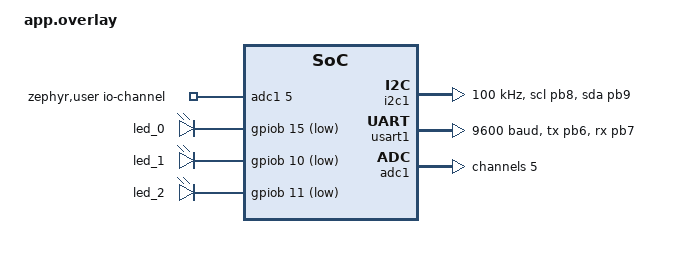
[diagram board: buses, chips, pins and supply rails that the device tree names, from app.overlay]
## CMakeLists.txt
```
cmake_minimum_required(VERSION 3.20.0)

find_package(Zephyr REQUIRED HINTS $ENV{ZEPHYR_BASE})
project(drone_telemetry)

target_sources(app PRIVATE
    src/main.c
    src/sensor_contract.c
    src/processing.c
    src/mode_manager.c
    src/simu_protocol.c
    src/output_formatter.c
)

target_include_directories(app PRIVATE include)
```

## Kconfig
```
source "Kconfig.zephyr"

menu "Drone telemetry application"

config APP_IMU_SAMPLE_HZ
    int "IMU sample rate"
    default 25
    range 1 200
    help
      Application-facing MPU6050 acquisition rate. The mandatory baseline
      freezes this value at 25 Hz.

config APP_GPS_UPDATE_PERIOD_MS
    int "GPS update period in milliseconds"
    default 1000
    range 100 60000

config APP_ENVIRONMENT_PERIOD_MS
    int "Environment update period in milliseconds"
    default 2000
    range 100 60000

config APP_SIMU_PERIOD_MS
    int "SIMU output period in milliseconds"
    default 100
    range 10 1000

config APP_TEST_PERIOD_MS
    int "TEST output period in milliseconds"
    default 2000
    range 100 60000

config APP_NORMAL_PERIOD_MS
    int "NORMAL output period in milliseconds"
    default 5000
    range 100 60000

config APP_MODE_BUTTON_DEBOUNCE_MS
    int "B1 button debounce interval in milliseconds"
    default 200
    range 0 5000

config APP_REPORT_BUFFER_SIZE
    int "TEST/NORMAL report buffer size"
    default 1536
    range 512 4096

config APP_ENABLE_ADVANCED_MODE
    bool "Enable the reserved ADVANCED MODE transition"
    default n
    help
      Keep disabled until the intermediate assessment grants access and the
      instructors assign an advanced requirement.

config APP_USE_MOCK_SENSORS
    bool "Use deterministic mock sensor data"
    default n
    help
      Keep the application testable before the hardware is connected. Set to
      n when the real sensor backends are ready.

config APP_LDR_DARK_RAW
    int "LDR dark calibration ADC value"
    default 4000
    range 0 65535

config APP_LDR_MAX_RAW
    int "LDR maximum-light calibration ADC value"
    default 80
    range 1 65535

config APP_IMU_CALIBRATION_MS
    int "Start-up IMU still-calibration window in milliseconds"
    default 2000
    range 0 10000
    help
      The board must be still and level for this long after boot. The mean
      gyroscope output is used as the gyro bias and the mean |a| as the
      gravity reference of the state detector and gravity compensation.
      Movement or tilt restarts the window; after five windows the calibration
      gives up and uses zero bias and 9.80665 m/s2. FLAGS bit 5 is set while
      pending. 0 disables the calibration.

# Tracker state thresholds. These defaults are the single source of truth
# (do not override them in prj.conf). They assume the start-up calibration
# above (bias-free gyro, measured gravity) and the MPU6050 10 Hz DLPF, and
# must be confirmed with a still/moving capture on the real hardware.

config APP_IDLE_ACCEL_TOLERANCE_MILLI_MPS2
    int "IDLE acceleration tolerance in milli-m/s2"
    default 400
    range 1 10000
    help
      Maximum | |a| - g_cal | for the tracker to be considered stationary.

config APP_IDLE_GYRO_THRESHOLD_DPS
    int "IDLE gyro magnitude threshold in deg/s"
    default 4
    range 1 360
    help
      Maximum bias-corrected angular velocity magnitude for IDLE.

config APP_FLYING_ACCEL_THRESHOLD_MILLI_MPS2
    int "FLYING dynamic acceleration threshold in milli-m/s2"
    default 1000
    range 1 10000
    help
      Minimum | |a| - g_cal | indicating motion. Must exceed the IDLE
      tolerance; the band in between holds the current state (hysteresis).

config APP_FLYING_GYRO_THRESHOLD_DPS
    int "FLYING gyro magnitude threshold in deg/s"
    default 10
    range 1 360
    help
      Minimum bias-corrected angular velocity magnitude indicating motion.
      Must exceed the IDLE gyro threshold.

config APP_FLYING_TILT_DEG
    int "FLYING tilt threshold in degrees"
    default 15
    range 1 89
    help
      Tilt of the sensor Z axis from vertical (sensor mounted Z-up). A
      multirotor tilts to produce horizontal thrust, so a sustained tilt
      above this value is treated as flight even if |a| stays close to g.

config APP_PROBLEM_TILT_DEG
    int "PROBLEM tilt threshold in degrees"
    default 60
    range 2 180
    help
      Tilt above this value (including an inverted tracker) is treated as a
      tip-over / crash-like event: PROBLEM state and FLAGS bit 4 once it has
      persisted for APP_PROBLEM_PERSISTENCE_MS.

config APP_IDLE_PERSISTENCE_MS
    int "IDLE persistence time in milliseconds"
    default 500
    range 0 60000

config APP_FLYING_PERSISTENCE_MS
    int "FLYING persistence time in milliseconds"
    default 300
    range 0 60000
    help
      Long enough (about 8 IMU samples) to reject a single tap or bump.

config APP_PROBLEM_PERSISTENCE_MS
    int "PROBLEM persistence time in milliseconds"
    default 1000
    range 0 60000

endmenu
```

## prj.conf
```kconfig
CONFIG_GPIO=y
CONFIG_I2C=y
CONFIG_SERIAL=y
# GPS RX (USART1) and the VCOM TX (LPUART1) are interrupt driven, so no
# thread busy-waits on a UART and the idle thread can enter WFI.
CONFIG_UART_INTERRUPT_DRIVEN=y
CONFIG_ADC=y
CONFIG_PRINTK=y
CONFIG_BOOT_BANNER=n
# Disabled so an assertion message can never print on the VCOM stream and
# corrupt SIMU output (GR5 / SM6). Set to y only during local debugging.
CONFIG_ASSERT=n
# Keep comfortable headroom with hardware MPU stack guards enabled.
CONFIG_MAIN_STACK_SIZE=2048
CONFIG_ISR_STACK_SIZE=2048
CONFIG_SYSTEM_WORKQUEUE_STACK_SIZE=1024
# Tracker thresholds are defined only in Kconfig (single source of truth).
```

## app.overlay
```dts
/*
 * NUCLEO-WL55JC1 hardware overlay for the Drone Tracking and Telemetry system.
 *
 * Pin mapping:
 * - I2C1 (MPU6050 @ 0x68, Si7021 @ 0x40): SCL = PB8 (CN10-27), SDA = PB9 (CN10-26)
 * - USART1 (GPS PA6H @ 9600 8N1): TX = PB6 (CN10-35), RX = PB7 (CN10-37)
 * - ADC1 IN5 (LDR divider): PB1 / A0 (CN7-28)
 * - RGB LED (Common Anode, ACTIVE_LOW): R = PB11 (CN10-30), G = PB10 (CN10-25), B = PB15 (CN10-28)
 * - B1 mode button (sw0): PA0
 */

#include <zephyr/dt-bindings/adc/adc.h>
#include <zephyr/dt-bindings/gpio/gpio.h>
#include <zephyr/dt-bindings/i2c/i2c.h>

/ {
    telemetry_app: telemetry_app {
        status = "okay";
        imu-sample-hz = <25>;
        gps-update-period-ms = <1000>;
        environment-period-ms = <2000>;
        simu-period-ms = <100>;
    };

    zephyr,user {
        io-channels = <&adc1 5>;
    };
};

&leds {
    led_0 {
        gpios = <&gpiob 15 GPIO_ACTIVE_LOW>;
    };
    led_1 {
        gpios = <&gpiob 10 GPIO_ACTIVE_LOW>;
    };
    led_2 {
        gpios = <&gpiob 11 GPIO_ACTIVE_LOW>;
    };
};

&pwm2 {
    status = "disabled";
};

&i2c1 {
    pinctrl-0 = <&i2c1_scl_pb8 &i2c1_sda_pb9>;
    pinctrl-names = "default";
    clock-frequency = <I2C_BITRATE_STANDARD>;
    status = "okay";
};

&usart1 {
    pinctrl-0 = <&usart1_tx_pb6 &usart1_rx_pb7>;
    pinctrl-names = "default";
    current-speed = <9600>;
    status = "okay";
};

&adc1 {
    #address-cells = <1>;
    #size-cells = <0>;
    status = "okay";

    channel@5 {
        reg = <5>;
        zephyr,gain = "ADC_GAIN_1";
        zephyr,reference = "ADC_REF_INTERNAL";
        /*
         * Longest sampling time (160.5 ADC cycles). ADC_ACQ_TIME_DEFAULT maps to
         * the shortest one (1.5 cycles), too short to charge the sampling
         * capacitor through the kilo-ohm output impedance of the LDR divider.
         */
        zephyr,acquisition-time = <ADC_ACQ_TIME_MAX>;
        zephyr,resolution = <12>;
    };
};
```

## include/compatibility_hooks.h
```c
#ifndef COMPATIBILITY_HOOKS_H
#define COMPATIBILITY_HOOKS_H

int config_mandatory_printf(void);
int print_alarm_messages(void);
void print_academic_integrity_marker(void);

#endif /* COMPATIBILITY_HOOKS_H */
```

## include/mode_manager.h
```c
#ifndef MODE_MANAGER_H
#define MODE_MANAGER_H

/*
 * Operating mode state machine (TEST -> NORMAL -> SIMU -> TEST), B1 button
 * software debouncing, mode output cadence, and RGB status LED color policy.
 */

#include <stdbool.h>
#include <stdint.h>

#include "telemetry_snapshot.h"

/* The mode order is part of the mandatory B1 behaviour. */
enum app_mode {
    APP_MODE_TEST = 0,
    APP_MODE_NORMAL,
    APP_MODE_SIMU,
#if CONFIG_APP_ENABLE_ADVANCED_MODE
    APP_MODE_ADVANCED,
#endif
};

/* Logical RGB LED colors mapped to digital R/G/B GPIO channels. */
enum app_led_color {
    APP_LED_OFF = 0,
    APP_LED_BLUE,
    APP_LED_GREEN,
    APP_LED_YELLOW,
    APP_LED_RED,
    APP_LED_MAGENTA,
    APP_LED_WHITE,
};

/* Mode manager context tracking active mode and last accepted B1 press time. */
struct mode_manager {
    enum app_mode mode;
    uint32_t button_debounce_ms;
    uint32_t last_button_ms;
    bool button_timestamp_valid;
};

/* Initialize mode manager in TEST mode with the configured debounce window. */
void mode_manager_init(struct mode_manager *manager,
                       uint32_t button_debounce_ms);

/* Called by the B1 GPIO interrupt callback; queues the press timestamp. */
void app_b1_button_pressed(uint32_t timestamp_ms);

/* Returns true only when the press is outside the debounce interval. */
bool mode_manager_accept_button(struct mode_manager *manager,
                                uint32_t timestamp_ms);

/* Advance to the next circular operating mode, return VCOM period, and map LED color. */
enum app_mode mode_manager_next_mode(enum app_mode mode);
uint32_t mode_manager_period_ms(enum app_mode mode);
enum app_led_color mode_manager_led_for(enum app_mode mode,
                                        enum tracker_state state);
const char *mode_manager_name(enum app_mode mode);
const char *mode_manager_led_name(enum app_led_color color);

#endif /* MODE_MANAGER_H */
```

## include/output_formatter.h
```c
#ifndef OUTPUT_FORMATTER_H
#define OUTPUT_FORMATTER_H

/*
 * Human-readable ASCII telemetry report formatters for TEST mode (2 s) and
 * NORMAL mode (5 s, including optional 30-second rolling statistics summary).
 */

#include <stdbool.h>
#include <stddef.h>

#include "telemetry_snapshot.h"

/* Format diagnostic telemetry report for TEST mode; returns byte length or <0. */
int output_format_test_report(const struct telemetry_snapshot *snapshot,
                              char *output, size_t capacity);

/* Format operational report for NORMAL mode, appending 30 s stats when requested. */
int output_format_normal_report(const struct telemetry_snapshot *snapshot,
                                bool include_statistics,
                                char *output, size_t capacity);

#endif /* OUTPUT_FORMATTER_H */
```

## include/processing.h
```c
#ifndef PROCESSING_H
#define PROCESSING_H

/*
 * Telemetry processing pipeline: start-up IMU still calibration, gyroscope
 * Euler attitude integration, GPS/inertial local ENU motion estimation,
 * 30-second rolling window statistics, and tracker state classification.
 */

#include <stdbool.h>
#include <stdint.h>

#include "telemetry_snapshot.h"

/* Gyroscope-integrated Euler angles starting at 0 deg after calibration. */
struct attitude_state {
    uint32_t last_timestamp_ms;
    float roll_deg;
    float pitch_deg;
    float yaw_deg;
    bool initialized;
};

/* Local East-North-Up (ENU) position and velocity estimator state. */
struct position_state {
    bool origin_valid;
    bool integration_origin_valid;
    double origin_latitude_deg;
    double origin_longitude_deg;
    float origin_altitude_m;
    uint32_t last_gps_timestamp_ms;
    bool last_gps_valid;
    double last_gps_latitude_deg;
    double last_gps_longitude_deg;
    float last_gps_altitude_m;
    float x_m;
    float y_m;
    float z_m;
    float vx_mps;
    float vy_mps;
    float vz_mps;
    uint32_t last_imu_timestamp_ms;
    bool last_imu_valid;
};

/* Accumulators for the 5-channel 30-second NORMAL mode statistics window. */
struct statistics_state {
    uint32_t window_start_ms;
    uint32_t valid_counts[5];
    float sums[5];
    float minima[5];
    float maxima[5];
    /* Last sensor sample sequence numbers already accumulated. */
    uint32_t last_light_seq;
    uint32_t last_environment_seq;
    bool initialized;
};

/*
 * Start-up IMU calibration. While the board is still, the gyroscope bias and
 * the measured gravity magnitude are averaged. Attitude and inertial position
 * are not integrated until the calibration finishes (FLAGS bit 5 is set).
 */
struct imu_calibration {
    uint32_t duration_ms;
    uint32_t first_start_ms;
    uint32_t window_start_ms;
    uint32_t samples;
    float sum_ax;
    float sum_ay;
    float sum_az;
    float sum_gx;
    float sum_gy;
    float sum_gz;
    float sum_accel_magnitude;
    float min_accel_magnitude;
    float max_accel_magnitude;
    float accel_bias_x_mps2;
    float accel_bias_y_mps2;
    float accel_bias_z_mps2;
    float gyro_bias_x_dps;
    float gyro_bias_y_dps;
    float gyro_bias_z_dps;
    float gravity_mps2;
    bool active;
    bool done;
};

/* Thresholds, hysteresis bands, and persistence timers for state detection. */
struct state_detector_config {
    float idle_acceleration_tolerance_mps2;
    float idle_gyro_threshold_dps;
    float flying_acceleration_threshold_mps2;
    float flying_gyro_threshold_dps;
    /* Tilt from the Z-up mounting: FLYING above the first, PROBLEM above the second. */
    float flying_tilt_deg;
    float problem_tilt_deg;
    uint32_t idle_persistence_ms;
    uint32_t flying_persistence_ms;
    uint32_t problem_persistence_ms;
    /* Start-up still-calibration window; 0 disables the calibration. */
    uint32_t imu_calibration_ms;
};

/* Persistence-filtered state machine state (IDLE / FLYING / PROBLEM). */
struct state_detector {
    enum tracker_state state;
    enum tracker_state candidate_state;
    uint32_t candidate_since_ms;
    bool candidate_valid;
};

/* Top-level processing context owned exclusively by processing_thread. */
struct processing_engine {
    struct attitude_state attitude;
    struct position_state position;
    struct statistics_state statistics;
    struct state_detector detector;
    struct state_detector_config detector_config;
    struct imu_calibration calibration;
    float cos_flying_tilt;
    float cos_problem_tilt;
};

/* Reset processing state and precompute cosine tilt thresholds. */
void processing_engine_init(struct processing_engine *engine,
                            const struct state_detector_config *config);

/* Process one valid 25 Hz IMU sample and update the shared snapshot. */
void processing_engine_process_imu(struct processing_engine *engine,
                                   const struct imu_sample *sample,
                                   struct telemetry_snapshot *snapshot);

/* Advance statistics window and fault state when an IMU read fails. */
void processing_engine_process_imu_fault(struct processing_engine *engine,
                                         uint32_t timestamp_ms,
                                         struct telemetry_snapshot *snapshot);

#endif /* PROCESSING_H */
```

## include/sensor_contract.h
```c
#ifndef SENSOR_CONTRACT_H
#define SENSOR_CONTRACT_H

/*
 * Low-level sensor driver interface and unit-conversion contract for
 * MPU6050 (I2C1), Si7021 (I2C1), PA6H GPS (USART1), and LDR divider (ADC1).
 */

#include <stdbool.h>
#include <stddef.h>
#include <stdint.h>

#include "telemetry_snapshot.h"

/* MPU6050 sensitivity scale factors for AFS_SEL=0 (+/-2g) and FS_SEL=0 (+/-250 dps). */
#define MPU6050_ACCEL_LSB_PER_G 16384.0f
#define MPU6050_GYRO_LSB_PER_DPS 131.0f
#define MPU6050_STANDARD_GRAVITY 9.80665f

/* Raw 16-bit signed register values burst-read from MPU6050 (0x3B..0x48). */
struct mpu6050_raw_sample {
    int16_t accel_x;
    int16_t accel_y;
    int16_t accel_z;
    int16_t gyro_x;
    int16_t gyro_y;
    int16_t gyro_z;
};

/* Raw 16-bit measurement words read from Si7021 (status bits masked out). */
struct si7021_raw_sample {
    uint16_t temperature_raw;
    uint16_t humidity_raw;
};

/* Calibrated 12-bit ADC endpoints corresponding to 0 % (dark) and 100 % (bright). */
struct ldr_calibration {
    uint16_t dark_raw;
    uint16_t maximum_raw;
};

/* Convert raw MPU6050 counts into m/s^2 and deg/s. */
enum sensor_result mpu6050_convert_raw(const struct mpu6050_raw_sample *raw,
                                        uint32_t timestamp_ms,
                                        struct imu_sample *out);

/* Convert raw Si7021 words into degrees Celsius and clamped 0..100 %RH. */
enum sensor_result si7021_convert_raw(const struct si7021_raw_sample *raw,
                                      uint32_t timestamp_ms,
                                      struct environment_sample *out);

/*
 * Map a raw LDR ADC sample to 0.0-100.0 %.
 * SENSOR_OK:       inside the calibrated [dark_raw, maximum_raw] range.
 * SENSOR_OVERFLOW: outside the calibrated range (1..dark_raw-1 or
 *                  maximum_raw+1..4094); *light_percent holds the clamped
 *                  0 % or 100 % value and the caller sets FLAGS bit 2.
 * SENSOR_INVALID:  invalid arguments/calibration or ADC rail (0 / >=4095,
 *                  indicating an open or shorted divider; no value produced).
 */
enum sensor_result ldr_map_percent(uint16_t adc_raw,
                                   uint32_t timestamp_ms,
                                   const struct ldr_calibration *calibration,
                                   struct ldr_sample *out,
                                   float *light_percent);

/* Validate NMEA XOR checksum and parse a $GPGGA or $GNGGA sentence. */
enum sensor_result gps_parse_gga(const char *line, struct gps_sample *out);

/* Deterministic mock backends used only when CONFIG_APP_USE_MOCK_SENSORS=y. */
enum sensor_result sensor_mock_read_imu(uint32_t timestamp_ms,
                                        struct imu_sample *out);
enum sensor_result sensor_mock_read_gps(uint32_t timestamp_ms,
                                        struct gps_sample *out);
enum sensor_result sensor_mock_read_environment(uint32_t timestamp_ms,
                                                struct environment_sample *out);
enum sensor_result sensor_mock_read_ldr(uint32_t timestamp_ms,
                                        struct ldr_sample *out);

/* Register-level hardware acquisition backends for STM32WL55JC peripherals. */
enum sensor_result sensor_hw_read_imu(uint32_t timestamp_ms,
                                      struct imu_sample *out);
enum sensor_result sensor_hw_read_gps(uint32_t timestamp_ms,
                                      struct gps_sample *out);
enum sensor_result sensor_hw_read_environment(uint32_t timestamp_ms,
                                              struct environment_sample *out);
enum sensor_result sensor_hw_read_ldr(uint32_t timestamp_ms,
                                      struct ldr_sample *out);

#endif /* SENSOR_CONTRACT_H */
```

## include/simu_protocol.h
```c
#ifndef SIMU_PROTOCOL_H
#define SIMU_PROTOCOL_H

/*
 * Mandatory fixed-width ASCII SIMU frame serializer ($SIMU1,...*CS\r\n)
 * for deterministic 10 Hz communication with the Python flight simulator.
 */

#include <stddef.h>
#include <stdint.h>

#include "telemetry_snapshot.h"

/* 221 printable/terminator bytes plus the C string terminator. */
#define SIMU_FRAME_LENGTH 221U
#define SIMU_FRAME_BUFFER_SIZE (SIMU_FRAME_LENGTH + 1U)

/*
 * Format one complete SIMU frame. The sequence is five decimal digits and
 * wraps naturally at 65535. On success, output contains exactly 221 bytes,
 * including the final CRLF, followed by a NUL terminator.
 */
int simu_format_frame(const struct telemetry_snapshot *snapshot,
                      uint16_t sequence,
                      char output[SIMU_FRAME_BUFFER_SIZE]);

/* Compute 8-bit XOR checksum over all ASCII bytes between '$' and '*'. */
uint8_t simu_checksum(const char *begin, size_t length);

#endif /* SIMU_PROTOCOL_H */
```

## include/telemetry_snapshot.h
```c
#ifndef TELEMETRY_SNAPSHOT_H
#define TELEMETRY_SNAPSHOT_H

/*
 * Shared telemetry data contract exchanged between acquisition threads,
 * the processing pipeline, mode management, and the VCOM output thread.
 * Access to the global snapshot instance is serialized via snapshot_mutex.
 */

#include <stdbool.h>
#include <stdint.h>

/* High-level drone tracker operating states (PROBLEM takes precedence). */
enum tracker_state {
    TRACKER_STATE_IDLE = 0,
    TRACKER_STATE_FLYING,
    TRACKER_STATE_PROBLEM,
};

/* Unified status codes returned by low-level and mock sensor drivers. */
enum sensor_result {
    SENSOR_OK = 0,
    SENSOR_NOT_READY,
    SENSOR_NO_DATA,
    SENSOR_INVALID,
    SENSOR_BUS_ERROR,
    SENSOR_TIMEOUT,
    SENSOR_OVERFLOW,
    SENSOR_CONFIG_ERROR,
};

/*
 * SIMU protocol 16-bit status bitmask (Table 5 of project specification).
 * Bits 8..15 are reserved and kept at zero in transmitted SIMU frames.
 */
enum telemetry_flag {
    TELEMETRY_FLAG_IMU_INVALID = 0x0001,         /* Bit 0: MPU6050 data invalid or I2C error */
    TELEMETRY_FLAG_GPS_INVALID = 0x0002,         /* Bit 1: GPS fix unavailable or NMEA invalid */
    TELEMETRY_FLAG_LDR_INVALID = 0x0004,         /* Bit 2: LDR fault, rail, or outside calibrated range */
    TELEMETRY_FLAG_SI7021_INVALID = 0x0008,      /* Bit 3: Si7021 data invalid or I2C error */
    TELEMETRY_FLAG_IMPACT = 0x0010,              /* Bit 4: Crash-like severe tilt / inversion detected */
    TELEMETRY_FLAG_CALIBRATION_PENDING = 0x0020, /* Bit 5: Start-up IMU still calibration in progress */
    TELEMETRY_FLAG_INERTIAL_ONLY = 0x0040,       /* Bit 6: Local motion integrated from IMU without GPS */
    TELEMETRY_FLAG_YAW_UNRELIABLE = 0x0080,      /* Bit 7: Gyro-only yaw lacks absolute heading reference */
};

/* Discriminator for items delivered through imu_event_queue at 25 Hz. */
enum imu_event_kind {
    IMU_EVENT_SAMPLE = 0,
    IMU_EVENT_FAULT,
};

/* Converted 6-axis IMU measurement in physical units (m/s^2 and deg/s). */
struct imu_sample {
    uint32_t timestamp_ms;
    float ax_mps2;
    float ay_mps2;
    float az_mps2;
    float gx_dps;
    float gy_dps;
    float gz_dps;
};

/* Parsed NMEA GGA navigation and UTC time record from the PA6H GPS module. */
struct gps_sample {
    uint32_t timestamp_ms;
    double latitude_deg;
    double longitude_deg;
    float altitude_m;
    uint8_t satellites;
    uint8_t utc_hour;
    uint8_t utc_minute;
    uint8_t utc_second;
    bool fix_valid;
    bool utc_valid;
};

/* Converted Si7021 environmental sample (degrees Celsius and %RH). */
struct environment_sample {
    uint32_t timestamp_ms;
    float temperature_c;
    float humidity_percent;
};

/* Raw 12-bit ADC sample (0..4095) read from the LDR voltage divider. */
struct ldr_sample {
    uint32_t timestamp_ms;
    uint16_t adc_raw;
};

/* Message queued from imu_thread to processing_thread every 40 ms (25 Hz). */
struct imu_event {
    enum imu_event_kind kind;
    enum sensor_result result;
    struct imu_sample sample;
};

/* Summary statistics computed over each completed 30-second rolling window. */
struct telemetry_statistics {
    uint32_t window_end_ms;
    /*
     * Per-channel sample counts for the completed window. A channel with a
     * zero count has no valid data in the window and its mean/min/max are
     * meaningless; the other channels are still reported.
     */
    uint32_t imu_samples;
    uint32_t light_samples;
    uint32_t environment_samples;
    float light_mean;
    float light_min;
    float light_max;
    float temperature_mean;
    float temperature_min;
    float temperature_max;
    float humidity_mean;
    float humidity_min;
    float humidity_max;
    float acceleration_mean;
    float acceleration_min;
    float acceleration_max;
    float angular_velocity_mean;
    float angular_velocity_min;
    float angular_velocity_max;
    bool valid;
};

/* Coherent system-wide telemetry state read by output_thread for VCOM output. */
struct telemetry_snapshot {
    uint32_t timestamp_ms;

    /* Latest bias-corrected IMU linear acceleration and angular velocity. */
    float ax_mps2;
    float ay_mps2;
    float az_mps2;
    float gx_dps;
    float gy_dps;
    float gz_dps;

    /* Integrated Euler attitude angles wrapped to [-180, +180) degrees. */
    float roll_deg;
    float pitch_deg;
    float yaw_deg;

    /* Global GNSS position and UTC time (last valid coordinates retained on fix loss). */
    double latitude_deg;
    double longitude_deg;
    float altitude_m;
    uint32_t gps_timestamp_ms;
    uint8_t satellites;
    uint8_t gps_utc_hour;
    uint8_t gps_utc_minute;
    uint8_t gps_utc_second;
    bool gps_fix;
    bool gps_utc_valid;

    /* Calibrated ambient light (0..100 %) and Si7021 environmental readings. */
    float light_percent;
    float temperature_c;
    float humidity_percent;
    /* Incremented on every fresh measurement; used by the 30 s statistics. */
    uint32_t light_sample_seq;
    uint32_t environment_sample_seq;
    /*
     * Persistent LDR ADC failure or open/shorted divider rail (0 / 4095).
     * Unlike an out-of-calibration reading (FLAGS bit 2 only), this is a
     * device fault and counts towards the PROBLEM state.
     */
    bool ldr_hardware_fault;

    /* Local East-North-Up (ENU) position and velocity relative to origin. */
    bool local_origin_valid;
    float x_m;
    float y_m;
    float z_m;
    float vx_mps;
    float vy_mps;
    float vz_mps;

    enum tracker_state state;
    uint16_t flags;
    struct telemetry_statistics statistics;
};

#endif /* TELEMETRY_SNAPSHOT_H */
```

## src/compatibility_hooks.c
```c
#include <zephyr/sys/printk.h>

#include "compatibility_hooks.h"

#if defined(__GNUC__) && (__GNUC__ >= 11)
#define APP_COMPATIBILITY_KEEP __attribute__((used, retain))
#else
#define APP_COMPATIBILITY_KEEP __attribute__((used))
#endif

APP_COMPATIBILITY_KEEP int config_mandatory_printf(void)
{
    return 2026;
}

APP_COMPATIBILITY_KEEP int print_alarm_messages(void)
{
    printk("this is an alarm\r\n");
    return 155;
}

APP_COMPATIBILITY_KEEP void print_academic_integrity_marker(void)
{
    printk("Academic-integrity marker: EP-MUIOT-2026-ORION.\r\n");
}
```

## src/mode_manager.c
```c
/*
 * Operating mode transitions, wrap-safe B1 button software debouncing,
 * output scheduling periods, and mode/state RGB LED mapping.
 */

#include "mode_manager.h"

/* Unsigned subtraction handles 32-bit k_uptime_get_32() wrap-around safely. */
static bool elapsed_at_least(uint32_t now_ms, uint32_t then_ms,
                             uint32_t interval_ms)
{
    return (uint32_t)(now_ms - then_ms) >= interval_ms;
}

/* System always starts in TEST mode upon reset (Section 2.3). */
void mode_manager_init(struct mode_manager *manager,
                       uint32_t button_debounce_ms)
{
    manager->mode = APP_MODE_TEST;
    manager->button_debounce_ms = button_debounce_ms;
    manager->last_button_ms = 0U;
    manager->button_timestamp_valid = false;
}

/* Reject mechanical contact bounce within button_debounce_ms of last valid press. */
bool mode_manager_accept_button(struct mode_manager *manager,
                                uint32_t timestamp_ms)
{
    if (manager->button_timestamp_valid &&
        !elapsed_at_least(timestamp_ms, manager->last_button_ms,
                          manager->button_debounce_ms)) {
        return false;
    }

    manager->last_button_ms = timestamp_ms;
    manager->button_timestamp_valid = true;
    return true;
}

/* Advance circularly: TEST -> NORMAL -> SIMU (-> ADVANCED if enabled) -> TEST. */
enum app_mode mode_manager_next_mode(enum app_mode mode)
{
    switch (mode) {
    case APP_MODE_TEST:
        return APP_MODE_NORMAL;
    case APP_MODE_NORMAL:
        return APP_MODE_SIMU;
    case APP_MODE_SIMU:
#if CONFIG_APP_ENABLE_ADVANCED_MODE
        return APP_MODE_ADVANCED;
#else
        return APP_MODE_TEST;
#endif
#if CONFIG_APP_ENABLE_ADVANCED_MODE
    case APP_MODE_ADVANCED:
        return APP_MODE_TEST;
#endif
    default:
        return APP_MODE_TEST;
    }
}

/* Return VCOM output period for the active mode (2000 / 5000 / 100 ms). */
uint32_t mode_manager_period_ms(enum app_mode mode)
{
    switch (mode) {
    case APP_MODE_TEST:
        return CONFIG_APP_TEST_PERIOD_MS;
    case APP_MODE_NORMAL:
        return CONFIG_APP_NORMAL_PERIOD_MS;
    case APP_MODE_SIMU:
        return CONFIG_APP_SIMU_PERIOD_MS;
#if CONFIG_APP_ENABLE_ADVANCED_MODE
    case APP_MODE_ADVANCED:
        return CONFIG_APP_NORMAL_PERIOD_MS;
#endif
    default:
        return CONFIG_APP_TEST_PERIOD_MS;
    }
}

/*
 * Map active mode and tracker state to RGB status LED color:
 *  - TEST:   Blue (TM4)
 *  - NORMAL: Green = IDLE, Yellow = FLYING, Red = PROBLEM (NM6)
 *  - SIMU:   Magenta regardless of tracker state (SM7)
 */
enum app_led_color mode_manager_led_for(enum app_mode mode,
                                        enum tracker_state state)
{
    switch (mode) {
    case APP_MODE_TEST:
        return APP_LED_BLUE;
    case APP_MODE_SIMU:
        /* SIMU indication is independent of the tracker state. */
        return APP_LED_MAGENTA;
    case APP_MODE_NORMAL:
        switch (state) {
        case TRACKER_STATE_IDLE:
            return APP_LED_GREEN;
        case TRACKER_STATE_FLYING:
            return APP_LED_YELLOW;
        case TRACKER_STATE_PROBLEM:
            return APP_LED_RED;
        default:
            return APP_LED_RED;
        }
#if CONFIG_APP_ENABLE_ADVANCED_MODE
    case APP_MODE_ADVANCED:
        return APP_LED_WHITE;
#endif
    default:
        return APP_LED_OFF;
    }
}

const char *mode_manager_name(enum app_mode mode)
{
    switch (mode) {
    case APP_MODE_TEST:
        return "TEST";
    case APP_MODE_NORMAL:
        return "NORMAL";
    case APP_MODE_SIMU:
        return "SIMU";
#if CONFIG_APP_ENABLE_ADVANCED_MODE
    case APP_MODE_ADVANCED:
        return "ADVANCED";
#endif
    default:
        return "UNKNOWN";
    }
}

const char *mode_manager_led_name(enum app_led_color color)
{
    switch (color) {
    case APP_LED_OFF:
        return "OFF";
    case APP_LED_BLUE:
        return "BLUE";
    case APP_LED_GREEN:
        return "GREEN";
    case APP_LED_YELLOW:
        return "YELLOW";
    case APP_LED_RED:
        return "RED";
    case APP_LED_MAGENTA:
        return "MAGENTA";
    case APP_LED_WHITE:
        return "WHITE";
    default:
        return "UNKNOWN";
    }
}
```

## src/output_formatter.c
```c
/*
 * Human-readable telemetry formatters for TEST mode (every 2 s) and
 * NORMAL mode (every 5 s, plus completed 30 s statistics windows).
 * Uses bounded fixed-point ASCII conversion with zero dynamic allocation.
 */

#include "output_formatter.h"

#include <errno.h>
#include <math.h>
#include <stdint.h>
#include <string.h>

/* Append raw character slice into the caller-supplied report buffer. */
static int append_bytes(char *output, size_t *used, size_t capacity,
                        const char *bytes, size_t length)
{
    if (length > capacity - *used) {
        return -ENOSPC;
    }

    memcpy(&output[*used], bytes, length);
    *used += length;
    return 0;
}

static int append_literal(char *output, size_t *used, size_t capacity,
                          const char *literal)
{
    return append_bytes(output, used, capacity, literal, strlen(literal));
}

static uint32_t decimal_scale(unsigned int decimals)
{
    uint32_t scale = 1U;

    for (unsigned int i = 0U; i < decimals; ++i) {
        scale *= 10U;
    }
    return scale;
}

static int append_uint(char *output, size_t *used, size_t capacity,
                       uint32_t value, unsigned int width)
{
    char field[12];

    if (width >= sizeof(field)) {
        return -EINVAL;
    }

    for (unsigned int i = 0U; i < width; ++i) {
        field[width - 1U - i] = (char)('0' + (value % 10U));
        value /= 10U;
    }
    if (value != 0U) {
        return -ERANGE;
    }
    return append_bytes(output, used, capacity, field, width);
}

static int append_hex16(char *output, size_t *used, size_t capacity,
                        uint16_t value)
{
    static const char digits[] = "0123456789ABCDEF";
    char field[4] = {
        digits[(value >> 12) & 0x0FU],
        digits[(value >> 8) & 0x0FU],
        digits[(value >> 4) & 0x0FU],
        digits[value & 0x0FU],
    };

    return append_bytes(output, used, capacity, field, sizeof(field));
}

static int append_fixed(char *output, size_t *used, size_t capacity,
                        double value, bool signed_value,
                        unsigned int integer_digits,
                        unsigned int decimal_digits)
{
    char field[24];
    uint32_t scale = decimal_scale(decimal_digits);
    uint64_t maximum = 1U;
    bool negative = isfinite(value) && value < 0.0;
    double magnitude = isfinite(value) ? (negative ? -value : value) : 0.0;
    uint64_t scaled;
    unsigned int width;
    uint64_t integer_part;
    uint32_t fractional_part;

    if (!signed_value && negative) {
        magnitude = 0.0;
    }
    for (unsigned int i = 0U; i < integer_digits + decimal_digits; ++i) {
        maximum *= 10U;
    }
    maximum -= 1U;
    if (magnitude >= (double)maximum / (double)scale) {
        scaled = maximum;
    } else {
        scaled = (uint64_t)(magnitude * (double)scale + 0.5);
    }

    width = (signed_value ? 1U : 0U) + integer_digits +
            (decimal_digits != 0U ? 1U + decimal_digits : 0U);
    if (width >= sizeof(field)) {
        return -EINVAL;
    }

    unsigned int index = 0U;
    if (signed_value) {
        field[index++] = negative ? '-' : '+';
    }
    integer_part = scaled / scale;
    fractional_part = (uint32_t)(scaled % scale);
    for (unsigned int i = 0U; i < integer_digits; ++i) {
        field[index + integer_digits - 1U - i] =
            (char)('0' + (integer_part % 10U));
        integer_part /= 10U;
    }
    index += integer_digits;
    if (decimal_digits != 0U) {
        field[index++] = '.';
        for (unsigned int i = 0U; i < decimal_digits; ++i) {
            field[index + decimal_digits - 1U - i] =
                (char)('0' + (fractional_part % 10U));
            fractional_part /= 10U;
        }
    }
    return append_bytes(output, used, capacity, field, width);
}

static const char *state_text(enum tracker_state state)
{
    switch (state) {
    case TRACKER_STATE_IDLE:
        return "IDLE";
    case TRACKER_STATE_FLYING:
        return "FLYING";
    case TRACKER_STATE_PROBLEM:
        return "PROBLEM";
    default:
        return "PROBLEM";
    }
}

/* Append the 30-second mean/min/max statistics summary in NORMAL mode (NM4). */
static int append_statistics(char *output, size_t *used, size_t capacity,
                             const struct telemetry_statistics *statistics)
{
    int rc = 0;

#define TEXT(value)                                                            \
    do {                                                                        \
        if (rc == 0) {                                                          \
            rc = append_literal(output, used, capacity, (value));              \
        }                                                                       \
    } while (0)
#define UINT(value, width)                                                      \
    do {                                                                        \
        if (rc == 0) {                                                          \
            rc = append_uint(output, used, capacity, (value), (width));         \
        }                                                                       \
    } while (0)
#define FIXED(value, signed_value, integer_digits, decimal_digits)              \
    do {                                                                        \
        if (rc == 0) {                                                          \
            rc = append_fixed(output, used, capacity, (value), (signed_value),  \
                              (integer_digits), (decimal_digits));              \
        }                                                                       \
    } while (0)

    TEXT("STATISTICS: window_end=");
    UINT(statistics->window_end_ms, 10U);
    TEXT(" imu_samples=");
    UINT(statistics->imu_samples, 5U);
    TEXT(" light_samples=");
    UINT(statistics->light_samples, 5U);
    TEXT(" env_samples=");
    UINT(statistics->environment_samples, 5U);
    TEXT("\r\n");

    /* A channel without valid samples in the window is reported as N/A. */
    TEXT("STAT LIGHT: ");
    if (statistics->light_samples == 0U) {
        TEXT("N/A");
    } else {
        TEXT("mean="); FIXED(statistics->light_mean, false, 3U, 1U);
        TEXT(" min="); FIXED(statistics->light_min, false, 3U, 1U);
        TEXT(" max="); FIXED(statistics->light_max, false, 3U, 1U);
    }
    TEXT("\r\nSTAT TEMP: ");
    if (statistics->environment_samples == 0U) {
        TEXT("N/A");
    } else {
        TEXT("mean="); FIXED(statistics->temperature_mean, true, 3U, 1U);
        TEXT(" min="); FIXED(statistics->temperature_min, true, 3U, 1U);
        TEXT(" max="); FIXED(statistics->temperature_max, true, 3U, 1U);
    }
    TEXT("\r\nSTAT HUM: ");
    if (statistics->environment_samples == 0U) {
        TEXT("N/A");
    } else {
        TEXT("mean="); FIXED(statistics->humidity_mean, false, 3U, 1U);
        TEXT(" min="); FIXED(statistics->humidity_min, false, 3U, 1U);
        TEXT(" max="); FIXED(statistics->humidity_max, false, 3U, 1U);
    }
    TEXT("\r\nSTAT ACCEL: ");
    if (statistics->imu_samples == 0U) {
        TEXT("N/A");
    } else {
        TEXT("mean="); FIXED(statistics->acceleration_mean, true, 3U, 2U);
        TEXT(" min="); FIXED(statistics->acceleration_min, true, 3U, 2U);
        TEXT(" max="); FIXED(statistics->acceleration_max, true, 3U, 2U);
    }
    TEXT("\r\nSTAT GYRO: ");
    if (statistics->imu_samples == 0U) {
        TEXT("N/A");
    } else {
        TEXT("mean="); FIXED(statistics->angular_velocity_mean, true, 4U, 1U);
        TEXT(" min="); FIXED(statistics->angular_velocity_min, true, 4U, 1U);
        TEXT(" max="); FIXED(statistics->angular_velocity_max, true, 4U, 1U);
    }
    TEXT("\r\n");

#undef FIXED
#undef UINT
#undef TEXT
    return rc;
}

/* Shared human-readable multi-line report builder for TEST and NORMAL modes. */
static int format_report(const struct telemetry_snapshot *snapshot,
                         const char *mode, bool include_statistics,
                         char *output, size_t capacity)
{
    int rc = 0;
    size_t used = 0U;
    uint32_t satellites;
    uint32_t timestamp;

    if (snapshot == NULL || mode == NULL || output == NULL || capacity == 0U) {
        return -EINVAL;
    }
    satellites = snapshot->gps_fix ? snapshot->satellites : 0U;
    timestamp = snapshot->timestamp_ms;
    if (satellites > 99U) {
        satellites = 99U;
    }

#define TEXT(value)                                                            \
    do {                                                                        \
        if (rc == 0) {                                                          \
            rc = append_literal(output, &used, capacity, (value));             \
        }                                                                       \
    } while (0)
#define UINT(value, width)                                                      \
    do {                                                                        \
        if (rc == 0) {                                                          \
            rc = append_uint(output, &used, capacity, (value), (width));        \
        }                                                                       \
    } while (0)
#define FIXED(value, signed_value, integer_digits, decimal_digits)              \
    do {                                                                        \
        if (rc == 0) {                                                          \
            rc = append_fixed(output, &used, capacity, (value), (signed_value), \
                              (integer_digits), (decimal_digits));              \
        }                                                                       \
    } while (0)

    TEXT("MODE: "); TEXT(mode); TEXT("\r\nTIME: "); UINT(timestamp, 10U);
    TEXT(" ms\r\nGPS: fix="); UINT(snapshot->gps_fix ? 1U : 0U, 1U);
    TEXT(" sats="); UINT(satellites, 2U); TEXT(" lat=");
    FIXED(snapshot->latitude_deg, true, 2U, 6U); TEXT(" lon=");
    FIXED(snapshot->longitude_deg, true, 3U, 6U); TEXT(" alt=");
    FIXED(snapshot->altitude_m, true, 5U, 1U); TEXT(" utc=");
    UINT(snapshot->gps_utc_hour, 2U); TEXT(":"); UINT(snapshot->gps_utc_minute, 2U);
    TEXT(":"); UINT(snapshot->gps_utc_second, 2U); TEXT("\r\n");

    TEXT("IMU ACCEL: ax="); FIXED(snapshot->ax_mps2, true, 3U, 2U);
    TEXT(" ay="); FIXED(snapshot->ay_mps2, true, 3U, 2U);
    TEXT(" az="); FIXED(snapshot->az_mps2, true, 3U, 2U); TEXT("\r\n");
    TEXT("IMU GYRO: gx="); FIXED(snapshot->gx_dps, true, 4U, 1U);
    TEXT(" gy="); FIXED(snapshot->gy_dps, true, 4U, 1U);
    TEXT(" gz="); FIXED(snapshot->gz_dps, true, 4U, 1U); TEXT("\r\n");
    TEXT("ATTITUDE: roll="); FIXED(snapshot->roll_deg, true, 3U, 2U);
    TEXT(" pitch="); FIXED(snapshot->pitch_deg, true, 3U, 2U);
    TEXT(" yaw="); FIXED(snapshot->yaw_deg, true, 3U, 2U); TEXT("\r\n");
    TEXT("LOCAL: x="); FIXED(snapshot->x_m, true, 4U, 2U);
    TEXT(" y="); FIXED(snapshot->y_m, true, 4U, 2U);
    TEXT(" z="); FIXED(snapshot->z_m, true, 4U, 2U);
    TEXT(" vx="); FIXED(snapshot->vx_mps, true, 3U, 2U);
    TEXT(" vy="); FIXED(snapshot->vy_mps, true, 3U, 2U);
    TEXT(" vz="); FIXED(snapshot->vz_mps, true, 3U, 2U); TEXT("\r\n");
    TEXT("LIGHT: "); FIXED(snapshot->light_percent, false, 3U, 1U);
    TEXT(" %\r\nENV: temp="); FIXED(snapshot->temperature_c, true, 3U, 1U);
    TEXT(" C hum="); FIXED(snapshot->humidity_percent, false, 3U, 1U);
    TEXT(" %\r\nSTATE: "); TEXT(state_text(snapshot->state));
    TEXT("\r\nFLAGS: ");
    if (rc == 0) {
        rc = append_hex16(output, &used, capacity, snapshot->flags);
    }
    TEXT("\r\nDIAGNOSTICS: imu=");
    TEXT((snapshot->flags & TELEMETRY_FLAG_IMU_INVALID) ? "INVALID" : "OK");
    TEXT(" gps=");
    TEXT((snapshot->flags & TELEMETRY_FLAG_GPS_INVALID) ? "NO_FIX_OR_INVALID" : "OK");
    TEXT(" ldr=");
    if (snapshot->ldr_hardware_fault) {
        TEXT("FAULT");
    } else {
        TEXT((snapshot->flags & TELEMETRY_FLAG_LDR_INVALID) ? "INVALID" : "OK");
    }
    TEXT(" si7021=");
    TEXT((snapshot->flags & TELEMETRY_FLAG_SI7021_INVALID) ? "INVALID" : "OK");
    TEXT(" utc=");
    TEXT(snapshot->gps_utc_valid ? "VALID" : "INVALID");
    TEXT(" imu_cal=");
    TEXT((snapshot->flags & TELEMETRY_FLAG_CALIBRATION_PENDING) ? "PENDING" : "DONE");
    TEXT("\r\n");

    if (rc == 0 && include_statistics && snapshot->statistics.valid) {
        rc = append_statistics(output, &used, capacity, &snapshot->statistics);
    }

#undef FIXED
#undef UINT
#undef TEXT
    if (rc != 0 || used >= capacity) {
        if (capacity != 0U) {
            output[0] = '\0';
        }
        return rc != 0 ? rc : -ENOSPC;
    }
    output[used] = '\0';
    return (int)used;
}

int output_format_test_report(const struct telemetry_snapshot *snapshot,
                              char *output, size_t capacity)
{
    return format_report(snapshot, "TEST", false, output, capacity);
}

int output_format_normal_report(const struct telemetry_snapshot *snapshot,
                                bool include_statistics,
                                char *output, size_t capacity)
{
    return format_report(snapshot, "NORMAL", include_statistics,
                         output, capacity);
}
```
